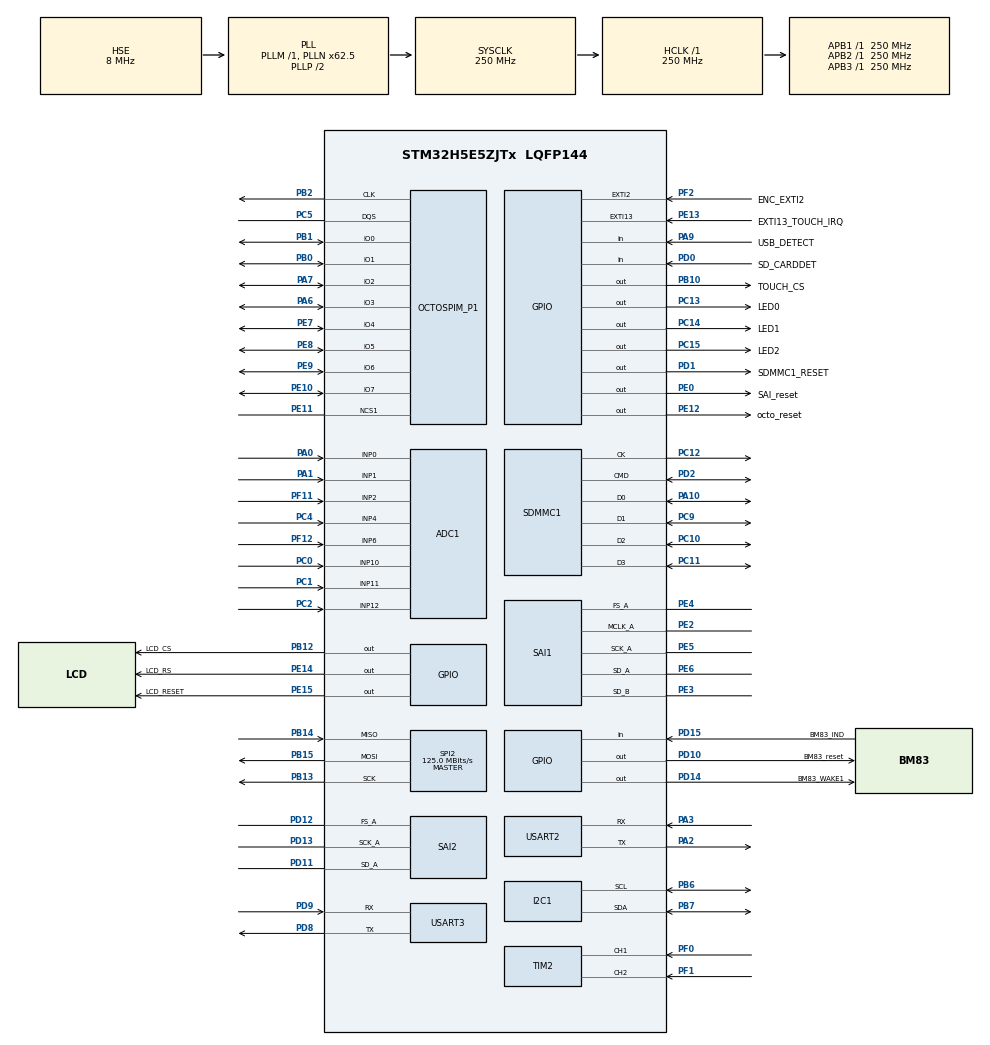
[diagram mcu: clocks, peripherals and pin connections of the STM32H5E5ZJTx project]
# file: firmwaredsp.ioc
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ADC1.Channel-0\#ChannelRegularConversion=ADC_CHANNEL_1
ADC1.MonitoredBy-0\#ChannelRegularConversion=__NULL
ADC1.NbrOfConversionFlag=1
ADC1.OffsetNumber-0\#ChannelRegularConversion=ADC_OFFSET_NONE
ADC1.Rank-0\#ChannelRegularConversion=1
ADC1.SamplingTime-0\#ChannelRegularConversion=ADC_SAMPLETIME_2CYCLES_5
ADC1.master=1
BOOTPATH.BootPathName=LEGACY
BOOTPATH.UserSelectedBootPath=LEGACY
CORTEX_M33_NS.Number-Cortex_Memory_Protection_Unit_Region0_OTP_RO_AREAS_Settings=MPU_REGION_NUMBER0
CORTEX_M33_NS.default_mode_Activation=1
CORTEX_M33_NS.userName=CORTEX_M33
GPDMA1.DESTBURSTLENGTH_GPDMACH0=1
GPDMA1.DESTDATAWIDTH_GPDMACH0=DMA_DEST_DATAWIDTH_BYTE
GPDMA1.DESTINC_GPDMACH0=DMA_DINC_FIXED
GPDMA1.DIRECTION_GPDMACH0=DMA_MEMORY_TO_PERIPH
GPDMA1.IPHANDLE_GPDMACH0-SIMPLEREQUEST_GPDMACH0=__NULL
GPDMA1.PRIORITY_GPDMACH0=DMA_LOW_PRIORITY_LOW_WEIGHT
GPDMA1.REQUEST_GPDMACH0=GPDMA1_REQUEST_USART2_TX
GPDMA1.SRCBURSTLENGTH_GPDMACH0=1
GPDMA1.SRCDATAWIDTH_GPDMACH0=DMA_SRC_DATAWIDTH_BYTE
GPDMA1.SRCINC_GPDMACH0=DMA_SINC_INCREMENTED
I2C1.Timing=0x60808CD3
Mcu.Family=STM32H5
Mcu.Name=STM32H5E5ZJTx
Mcu.Package=LQFP144
NVIC.GPDMA1_Channel0_IRQn=true\:15\:0\:false\:false\:true\:false\:true\:true
NVIC.PriorityGroup=NVIC_PRIORITYGROUP_4
NVIC.USART2_IRQn=true\:15\:0\:false\:false\:true\:true\:true\:true
OTG_HS_DM.Mode=Internal_Phy_Device
OTG_HS_DM.Signal=USB_OTG_HS_DM
OTG_HS_DP.Mode=Internal_Phy_Device
OTG_HS_DP.Signal=USB_OTG_HS_DP
PA0.Signal=ADCx_INP0
PA1.Signal=ADCx_INP1
PA10.Mode=SD_4_bits_Wide_bus
PA10.Signal=SDMMC1_D0
PA13\ (JTMS/SWDIO).Mode=JTAG_5_pins
PA13\ (JTMS/SWDIO).Signal=DEBUG_JTMS-SWDIO
PA14\ (JTCK/SWCLK).Mode=JTAG_5_pins
PA14\ (JTCK/SWCLK).Signal=DEBUG_JTCK-SWCLK
PA15\ (JTDI).Mode=JTAG_5_pins
PA15\ (JTDI).Signal=DEBUG_JTDI
PA2.Mode=Asynchronous
PA2.Signal=USART2_TX
PA3.Mode=Asynchronous
PA3.Signal=USART2_RX
PA6.Mode=OCTOSPI1_Port1Octo
PA6.Signal=OCTOSPIM_P1_IO3
PA7.Mode=OCTOSPI1_Port1Octo
PA7.Signal=OCTOSPIM_P1_IO2
PA9.GPIO_Label=USB_DETECT
PA9.Signal=GPIO_Input
PB0.Mode=OCTOSPI1_Port1Octo
PB0.Signal=OCTOSPIM_P1_IO1
PB1.Mode=OCTOSPI1_Port1Octo
PB1.Signal=OCTOSPIM_P1_IO0
PB10.GPIO_Label=TOUCH_CS
PB10.Signal=GPIO_Output
PB12.GPIO_Label=LCD_CS
PB12.Signal=GPIO_Output
PB13.Mode=Full_Duplex_Master
PB13.Signal=SPI2_SCK
PB14.Mode=Full_Duplex_Master
PB14.Signal=SPI2_MISO
PB15.Mode=Full_Duplex_Master
PB15.Signal=SPI2_MOSI
PB2.Mode=OCTOSPI1_Port1Octo
PB2.Signal=OCTOSPIM_P1_CLK
PB3\ (JTDO/TRACESWO).Mode=JTAG_5_pins
PB3\ (JTDO/TRACESWO).Signal=DEBUG_JTDO-SWO
PB4\ (NJTRST).Mode=JTAG_5_pins
PB4\ (NJTRST).Signal=DEBUG_NJTRST
PB6.Mode=I2C
PB6.Signal=I2C1_SCL
PB7.Mode=I2C
PB7.Signal=I2C1_SDA
PC0.Signal=ADCx_INP10
PC1.Signal=ADCx_INP11
PC10.Mode=SD_4_bits_Wide_bus
PC10.Signal=SDMMC1_D2
PC11.Mode=SD_4_bits_Wide_bus
PC11.Signal=SDMMC1_D3
PC12.Mode=SD_4_bits_Wide_bus
PC12.Signal=SDMMC1_CK
PC13.GPIO_Label=LED0
PC13.Signal=GPIO_Output
PC14-OSC32_IN(OSC32_IN).GPIO_Label=LED1
PC14-OSC32_IN(OSC32_IN).Signal=GPIO_Output
PC15-OSC32_OUT(OSC32_OUT).GPIO_Label=LED2
PC15-OSC32_OUT(OSC32_OUT).Signal=GPIO_Output
PC2.Signal=ADCx_INP12
PC4.Signal=ADCx_INP4
PC5.Mode=OCTOSPI1_Port1Octo
PC5.Signal=OCTOSPIM_P1_DQS
PC9.Mode=SD_4_bits_Wide_bus
PC9.Signal=SDMMC1_D1
PD0.GPIO_Label=SD_CARDDET
PD0.Signal=GPIO_Input
PD1.GPIO_Label=SDMMC1_RESET
PD1.Signal=GPIO_Output
PD10.GPIO_Label=BM83_reset
PD10.Signal=GPIO_Output
PD11.Mode=SAI_A_Master
PD11.Signal=SAI2_SD_A
PD12.Mode=SAI_A_Master
PD12.Signal=SAI2_FS_A
PD13.Mode=SAI_A_Master
PD13.Signal=SAI2_SCK_A
PD14.GPIO_Label=BM83_WAKE1
PD14.Signal=GPIO_Output
PD15.GPIO_Label=BM83_IND
PD15.Signal=GPIO_Input
PD2.Mode=SD_4_bits_Wide_bus
PD2.Signal=SDMMC1_CMD
PD8.Mode=Asynchronous
PD8.Signal=USART3_TX
PD9.Mode=Asynchronous
PD9.Signal=USART3_RX
PE0.GPIO_Label=SAI_reset
PE0.Signal=GPIO_Output
PE10.Mode=OCTOSPI1_Port1Octo
PE10.Signal=OCTOSPIM_P1_IO7
PE11.Mode=OCTOSPI1_NCS1_Port1
PE11.Signal=OCTOSPIM_P1_NCS1
PE12.GPIO_Label=octo_reset
PE12.Signal=GPIO_Output
PE13.GPIO_Label=EXTI13_TOUCH_IRQ
PE13.Signal=GPXTI13
PE14.GPIO_Label=LCD_RS
PE14.Signal=GPIO_Output
PE15.GPIO_Label=LCD_RESET
PE15.Signal=GPIO_Output
PE2.Mode=SAI_A_MasterWithClock
PE2.Signal=SAI1_MCLK_A
PE3.Mode=SAI_B_SyncSlave
PE3.Signal=SAI1_SD_B
PE4.Mode=SAI_A_MasterWithClock
PE4.Signal=SAI1_FS_A
PE5.Mode=SAI_A_MasterWithClock
PE5.Signal=SAI1_SCK_A
PE6.Mode=SAI_A_MasterWithClock
PE6.Signal=SAI1_SD_A
PE7.Mode=OCTOSPI1_Port1Octo
PE7.Signal=OCTOSPIM_P1_IO4
PE8.Mode=OCTOSPI1_Port1Octo
PE8.Signal=OCTOSPIM_P1_IO5
PE9.Mode=OCTOSPI1_Port1Octo
PE9.Signal=OCTOSPIM_P1_IO6
PF0.Signal=S_TIM2_CH1
PF1.Signal=S_TIM2_CH2
PF11.Mode=IN2-Single-Ended
PF11.Signal=ADC1_INP2
PF12.Mode=IN6-Single-Ended
PF12.Signal=ADC1_INP6
PF2.GPIO_Label=ENC_EXTI2
PF2.Signal=GPXTI2
PH0-OSC_IN(PH0).Mode=HSE-External-Oscillator
PH0-OSC_IN(PH0).Signal=RCC_OSC_IN
PH1-OSC_OUT(PH1).Mode=HSE-External-Oscillator
PH1-OSC_OUT(PH1).Signal=RCC_OSC_OUT
ProjectManager.HeapSize=0x200
ProjectManager.StackSize=0x400
ProjectManager.TargetToolchain=STM32CubeIDE
RCC.ADCCLockSelection=RCC_ADCDACCLKSOURCE_HSE
RCC.ADCFreq_Value=8000000
RCC.AHBFreq_Value=250000000
RCC.APB1Freq_Value=250000000
RCC.APB1TimFreq_Value=250000000
RCC.APB2Freq_Value=250000000
RCC.APB2TimFreq_Value=250000000
RCC.APB3Freq_Value=250000000
RCC.CSI_VALUE=4000000
RCC.CortexFreq_Value=250000000
RCC.EPOD_VALUE=8000000
RCC.HCLKFreq_Value=250000000
RCC.HSE_VALUE=8000000
RCC.HSI48_VALUE=48000000
RCC.HSI_VALUE=64000000
RCC.LSE_VALUE=32768
RCC.LSIRC_VALUE=32000
RCC.LockedElements=AHBOutput,USBPHYCLKOutput,SAI2output,SAI1output
RCC.PLL2FRACN=1245
RCC.PLL2N=49
RCC.PLL2P=8
RCC.PLL2Source=RCC_PLL2_SOURCE_HSE
RCC.PLL3FRACN=0
RCC.PLL3N=40
RCC.PLL3Q=10
RCC.PLLFRACN=4096
RCC.PLLN=62
RCC.PLLSourceVirtual=RCC_PLL1_SOURCE_HSE
RCC.SYSCLKFreq_VALUE=250000000
RCC.SYSCLKSource=RCC_SYSCLKSOURCE_PLLCLK
RCC.USBFreq_Value=16000000
RCC.USBPHYCLKSource=RCC_OTGHSCLKSOURCE_PLL3Q
RCC.VCOOutputFreq_Value=500000000
SAI1.AudioFrequency-SAI_A_MasterWithClock=SAI_AUDIO_FREQUENCY_48K
SAI1.BasicDataSize-SAI_A_MasterWithClock=SAI_PROTOCOL_DATASIZE_24BIT
SAI1.BasicDataSize-SAI_B_SyncSlave=SAI_PROTOCOL_DATASIZE_24BIT
SAI1.ErrorAudioFreq-SAI_A_MasterWithClock=0.0 %
SAI1.InitProtocol-SAI_A_MasterWithClock=Enable
SAI1.InitProtocol-SAI_B_SyncSlave=Enable
SAI1.Instance-SAI_A_MasterWithClock=SAI$Index_Block_A
SAI1.Instance-SAI_B_SyncSlave=SAI$Index_Block_B
SAI1.MckOutput-SAI_A_MasterWithClock=SAI_MCK_OUTPUT_ENABLE
SAI1.RealAudioFreq-SAI_A_MasterWithClock=47.999 KHz
SAI1.VirtualMode-SAI_A_MasterWithClock=VM_MASTER
SAI1.VirtualMode-SAI_B_SyncSlave=VM_SLAVE
SAI1.VirtualProtocol-SAI_A_BASIC=VM_BASIC_PROTOCOL
SAI1.VirtualProtocol-SAI_B_BASIC=VM_BASIC_PROTOCOL
SAI2.AudioFrequency-SAI_A_Master=SAI_AUDIO_FREQUENCY_48K
SAI2.ErrorAudioFreq-SAI_A_Master=0.0 %
SAI2.InitProtocol-SAI_A_Master=Enable
SAI2.Instance-SAI_A_Master=SAI$Index_Block_A
SAI2.MckOutput-SAI_A_Master=SAI_MCK_OUTPUT_DISABLE
SAI2.RealAudioFreq-SAI_A_Master=47.999 KHz
SAI2.VirtualMode-SAI_A_Master=VM_MASTER
SAI2.VirtualProtocol-SAI_A_BASIC=VM_BASIC_PROTOCOL
SH.ADCx_INP0.0=ADC1_INP0,IN0-Single-Ended
SH.ADCx_INP1.0=ADC1_INP1,IN1-Single-Ended
SH.ADCx_INP10.0=ADC1_INP10,IN10-Single-Ended
SH.ADCx_INP11.0=ADC1_INP11,IN11-Single-Ended
SH.ADCx_INP12.0=ADC1_INP12,IN12-Single-Ended
SH.ADCx_INP4.0=ADC1_INP4,IN4-Single-Ended
SH.S_TIM2_CH1.0=TIM2_CH1,Encoder_Interface
SH.S_TIM2_CH2.0=TIM2_CH2,Encoder_Interface
SPI2.CalculateBaudRate=125.0 MBits/s
SPI2.Direction=SPI_DIRECTION_2LINES
SPI2.Mode=SPI_MODE_MASTER
SPI2.VirtualType=VM_MASTER
USART2.VirtualMode-Asynchronous=VM_ASYNC
USART3.VirtualMode-Asynchronous=VM_ASYNC
USB_OTG_HS.VirtualMode=Int_Phy_Device
VP_BOOTPATH_VS_BOOTPATH.Mode=BP_Activate
VP_CORTEX_M33_NS_VS_Hclk.Mode=Hclk_Mode
VP_GPDMA1_VS_GPDMACH0.Mode=SIMPLEREQUEST_GPDMACH0
VP_ICACHE_VS_ICACHE.Mode=DirectMappedCache
VP_OCTOSPI1_VS_hyperbus.Mode=hyperbus_mode
VP_PWR_VS_LPOM.Mode=PowerOptimisation
VP_PWR_VS_SECSignals.Mode=Security/Privilege
VP_SAI1_VP_$IpInstance_SAIA_SAI_BASIC.Mode=SAI_A_BASIC
VP_SAI1_VP_$IpInstance_SAIB_SAI_BASIC.Mode=SAI_B_BASIC
VP_SAI2_VP_$IpInstance_SAIA_SAI_BASIC.Mode=SAI_A_BASIC
board=custom

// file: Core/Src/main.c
/* USER CODE BEGIN Header */
/**
  ******************************************************************************
  * @file           : main.c
  * @brief          : Main program body
  ******************************************************************************
  * @attention
  *
  * Copyright (c) 2026 STMicroelectronics.
  * All rights reserved.
  *
  * This software is licensed under terms that can be found in the LICENSE file
  * in the root directory of this software component.
  * If no LICENSE file comes with this software, it is provided AS-IS.
  *
  ******************************************************************************
  */
/* USER CODE END Header */
#include "main.h"

/* USER CODE BEGIN Includes */
#include "console.h"
#include "console_board.h"
#include "app_config.h"
#include "codec_app.h"

/* USER CODE END Includes */

ADC_HandleTypeDef hadc1;

I2C_HandleTypeDef hi2c1;

XSPI_HandleTypeDef hxspi1;

SAI_HandleTypeDef hsai_BlockA1;
SAI_HandleTypeDef hsai_BlockB1;
SAI_HandleTypeDef hsai_BlockA2;

SD_HandleTypeDef hsd1;

SPI_HandleTypeDef hspi2;

TIM_HandleTypeDef htim2;

UART_HandleTypeDef huart2;
UART_HandleTypeDef huart3;
DMA_HandleTypeDef handle_GPDMA1_Channel0;

PCD_HandleTypeDef hpcd_USB_OTG_HS;

/* USER CODE BEGIN PV */
volatile HAL_StatusTypeDef console_startup_status = HAL_ERROR;
#if GUITARAMP_CODEC_ENABLE
static codec_app_state_t last_codec_state;
#endif

/* USER CODE END PV */

void SystemClock_Config(void);
void PeriphCommonClock_Config(void);
static void MPU_Config(void);
static void MX_GPIO_Init(void);
static void MX_GPDMA1_Init(void);
static void MX_ICACHE_Init(void);
static void MX_OCTOSPI1_Init(void);
static void MX_SDMMC1_SD_Init(void);
static void MX_USB_OTG_HS_PCD_Init(void);
static void MX_I2C1_Init(void);
static void MX_SAI1_Init(void);
static void MX_USART2_UART_Init(void);
static void MX_SAI2_Init(void);
static void MX_USART3_UART_Init(void);
static void MX_SPI2_Init(void);
static void MX_ADC1_Init(void);
static void MX_TIM2_Init(void);

int main(void)
{

  /* USER CODE BEGIN 1 */
  uint32_t led1_last_toggle;

  /* USER CODE END 1 */

  /* MCU Configuration--------------------------------------------------------*/

  /* MPU Configuration--------------------------------------------------------*/
  MPU_Config();

  /* Reset of all peripherals, Initializes the Flash interface and the Systick. */
  HAL_Init();

  /* Configure the system clock */
  SystemClock_Config();

  /* Configure the peripherals common clocks */
  PeriphCommonClock_Config();

  /* Initialize all configured peripherals */
  MX_GPIO_Init();
  MX_GPDMA1_Init();
  MX_ICACHE_Init();
  MX_OCTOSPI1_Init();
  MX_SDMMC1_SD_Init();
  MX_USB_OTG_HS_PCD_Init();
  MX_I2C1_Init();
  MX_SAI1_Init();
  MX_USART2_UART_Init();
  MX_SAI2_Init();
  MX_USART3_UART_Init();
  MX_SPI2_Init();
  MX_ADC1_Init();
  MX_TIM2_Init();
  /* USER CODE BEGIN 2 */
  console_startup_status = Console_Board_Init(&huart2);
  Console_Write("\r\nguitarAmp console ready\r\n");
  Console_Printf("CPU clock: %lu Hz\r\n", (unsigned long)HAL_RCC_GetSysClockFreq());
#if GUITARAMP_CODEC_ENABLE
  Console_Write("codec: starting\r\n");
  codec_app_start(&hi2c1, &hsai_BlockA1);
  last_codec_state = codec_app_state;
  Console_Printf("codec: state=%u result=%u\r\n",
                 (unsigned)codec_app_state, (unsigned)codec_app_result);
#else
  Console_Write("codec: disabled\r\n");
#endif
  led1_last_toggle = HAL_GetTick();

  /* USER CODE END 2 */

  /* Infinite loop */
  while (1)
  {

    /* USER CODE BEGIN 3 */
    Console_Process();
#if GUITARAMP_CODEC_ENABLE
    codec_app_process();
    if (last_codec_state != codec_app_state)
    {
      last_codec_state = codec_app_state;
      Console_Printf("codec: state=%u result=%u\r\n",
                     (unsigned)codec_app_state, (unsigned)codec_app_result);
    }
#endif
    uint32_t now = HAL_GetTick();

    if ((uint32_t)(now - led1_last_toggle) >= 500U)
    {
      led1_last_toggle = now;
      HAL_GPIO_TogglePin(LED1_GPIO_Port, LED1_Pin);
    }
  }
  /* USER CODE END 3 */
}

void SystemClock_Config(void)
{
  RCC_OscInitTypeDef RCC_OscInitStruct = {0};
  RCC_ClkInitTypeDef RCC_ClkInitStruct = {0};

  /** Configure the main internal regulator output voltage
  */
  __HAL_PWR_VOLTAGESCALING_CONFIG(PWR_REGULATOR_VOLTAGE_SCALE0);

  while(!__HAL_PWR_GET_FLAG(PWR_FLAG_VOSRDY)) {}

  /** Initializes the RCC Oscillators according to the specified parameters
  * in the RCC_OscInitTypeDef structure.
  */
  RCC_OscInitStruct.OscillatorType = RCC_OSCILLATORTYPE_HSE|RCC_OSCILLATORTYPE_CSI;
  RCC_OscInitStruct.HSEState = RCC_HSE_ON;
  RCC_OscInitStruct.CSIState = RCC_CSI_ON;
  RCC_OscInitStruct.CSICalibrationValue = RCC_CSICALIBRATION_DEFAULT;
  RCC_OscInitStruct.PLL.PLLState = RCC_PLL_ON;
  RCC_OscInitStruct.PLL.PLLSource = RCC_PLL1_SOURCE_HSE;
  RCC_OscInitStruct.PLL.PLLM = 1;
  RCC_OscInitStruct.PLL.PLLN = 62;
  RCC_OscInitStruct.PLL.PLLP = 2;
  RCC_OscInitStruct.PLL.PLLQ = 2;
  RCC_OscInitStruct.PLL.PLLR = 2;
  RCC_OscInitStruct.PLL.PLLRGE = RCC_PLL1_VCIRANGE_3;
  RCC_OscInitStruct.PLL.PLLVCOSEL = RCC_PLL1_VCORANGE_WIDE;
  RCC_OscInitStruct.PLL.PLLFRACN = 4096;
  if (HAL_RCC_OscConfig(&RCC_OscInitStruct) != HAL_OK)
  {
    Error_Handler();
  }

  /** Initializes the CPU, AHB and APB buses clocks
  */
  RCC_ClkInitStruct.ClockType = RCC_CLOCKTYPE_HCLK|RCC_CLOCKTYPE_SYSCLK
                              |RCC_CLOCKTYPE_PCLK1|RCC_CLOCKTYPE_PCLK2
                              |RCC_CLOCKTYPE_PCLK3;
  RCC_ClkInitStruct.SYSCLKSource = RCC_SYSCLKSOURCE_PLLCLK;
  RCC_ClkInitStruct.AHBCLKDivider = RCC_SYSCLK_DIV1;
  RCC_ClkInitStruct.APB1CLKDivider = RCC_HCLK_DIV1;
  RCC_ClkInitStruct.APB2CLKDivider = RCC_HCLK_DIV1;
  RCC_ClkInitStruct.APB3CLKDivider = RCC_HCLK_DIV1;

  if (HAL_RCC_ClockConfig(&RCC_ClkInitStruct, FLASH_LATENCY_5) != HAL_OK)
  {
    Error_Handler();
  }

  /** Configure the programming delay
  */
  __HAL_FLASH_SET_PROGRAM_DELAY(FLASH_PROGRAMMING_DELAY_2);
}

void PeriphCommonClock_Config(void)
{
  RCC_PeriphCLKInitTypeDef PeriphClkInitStruct = {0};

  /** Initializes the peripherals clock
  */
  PeriphClkInitStruct.PeriphClockSelection = RCC_PERIPHCLK_ADCDAC|RCC_PERIPHCLK_SAI1
                              |RCC_PERIPHCLK_SAI2;
  PeriphClkInitStruct.PLL2.PLL2Source = RCC_PLL2_SOURCE_HSE;
  PeriphClkInitStruct.PLL2.PLL2M = 1;
  PeriphClkInitStruct.PLL2.PLL2N = 49;
  PeriphClkInitStruct.PLL2.PLL2P = 8;
  PeriphClkInitStruct.PLL2.PLL2Q = 2;
  PeriphClkInitStruct.PLL2.PLL2R = 2;
  PeriphClkInitStruct.PLL2.PLL2RGE = RCC_PLL2_VCIRANGE_3;
  PeriphClkInitStruct.PLL2.PLL2VCOSEL = RCC_PLL2_VCORANGE_WIDE;
  PeriphClkInitStruct.PLL2.PLL2FRACN = 1245;
  PeriphClkInitStruct.PLL2.PLL2ClockOut = RCC_PLL2_DIVP;
  PeriphClkInitStruct.Sai1ClockSelection = RCC_SAI1CLKSOURCE_PLL2P;
  PeriphClkInitStruct.Sai2ClockSelection = RCC_SAI2CLKSOURCE_PLL2P;
  if (HAL_RCCEx_PeriphCLKConfig(&PeriphClkInitStruct) != HAL_OK)
  {
    Error_Handler();
  }
}

static void MX_ADC1_Init(void)
{

  ADC_ChannelConfTypeDef sConfig = {0};

  /** Common config
  */
  hadc1.Instance = ADC1;
  hadc1.Init.ClockPrescaler = ADC_CLOCK_ASYNC_DIV1;
  hadc1.Init.Resolution = ADC_RESOLUTION_12B;
  hadc1.Init.DataAlign = ADC_DATAALIGN_RIGHT;
  hadc1.Init.ScanConvMode = ADC_SCAN_DISABLE;
  hadc1.Init.EOCSelection = ADC_EOC_SINGLE_CONV;
  hadc1.Init.LowPowerAutoWait = DISABLE;
  hadc1.Init.ContinuousConvMode = DISABLE;
  hadc1.Init.NbrOfConversion = 1;
  hadc1.Init.DiscontinuousConvMode = DISABLE;
  hadc1.Init.ExternalTrigConv = ADC_SOFTWARE_START;
  hadc1.Init.ExternalTrigConvEdge = ADC_EXTERNALTRIGCONVEDGE_NONE;
  hadc1.Init.DMAContinuousRequests = DISABLE;
  hadc1.Init.SamplingMode = ADC_SAMPLING_MODE_NORMAL;
  hadc1.Init.Overrun = ADC_OVR_DATA_PRESERVED;
  hadc1.Init.OversamplingMode = DISABLE;
  if (HAL_ADC_Init(&hadc1) != HAL_OK)
  {
    Error_Handler();
  }

  /** Configure Regular Channel
  */
  sConfig.Channel = ADC_CHANNEL_1;
  sConfig.Rank = ADC_REGULAR_RANK_1;
  sConfig.SamplingTime = ADC_SAMPLETIME_2CYCLES_5;
  sConfig.SingleDiff = ADC_SINGLE_ENDED;
  sConfig.OffsetNumber = ADC_OFFSET_NONE;
  sConfig.Offset = 0;
  if (HAL_ADC_ConfigChannel(&hadc1, &sConfig) != HAL_OK)
  {
    Error_Handler();
  }

}

static void MX_GPDMA1_Init(void)
{

  /* Peripheral clock enable */
  __HAL_RCC_GPDMA1_CLK_ENABLE();

  /* GPDMA1 interrupt Init */
    HAL_NVIC_SetPriority(GPDMA1_Channel0_IRQn, 15, 0);
    HAL_NVIC_EnableIRQ(GPDMA1_Channel0_IRQn);

}

static void MX_I2C1_Init(void)
{

  hi2c1.Instance = I2C1;
  hi2c1.Init.Timing = 0x60808CD3;
  hi2c1.Init.OwnAddress1 = 0;
  hi2c1.Init.AddressingMode = I2C_ADDRESSINGMODE_7BIT;
  hi2c1.Init.DualAddressMode = I2C_DUALADDRESS_DISABLE;
  hi2c1.Init.OwnAddress2 = 0;
  hi2c1.Init.OwnAddress2Masks = I2C_OA2_NOMASK;
  hi2c1.Init.GeneralCallMode = I2C_GENERALCALL_DISABLE;
  hi2c1.Init.NoStretchMode = I2C_NOSTRETCH_DISABLE;
  if (HAL_I2C_Init(&hi2c1) != HAL_OK)
  {
    Error_Handler();
  }

  /** Configure Analogue filter
  */
  if (HAL_I2CEx_ConfigAnalogFilter(&hi2c1, I2C_ANALOGFILTER_ENABLE) != HAL_OK)
  {
    Error_Handler();
  }

  /** Configure Digital filter
  */
  if (HAL_I2CEx_ConfigDigitalFilter(&hi2c1, 0) != HAL_OK)
  {
    Error_Handler();
  }

}

static void MX_ICACHE_Init(void)
{

  /** Enable instruction cache in 1-way (direct mapped cache)
  */
  if (HAL_ICACHE_ConfigAssociativityMode(ICACHE_1WAY) != HAL_OK)
  {
    Error_Handler();
  }
  if (HAL_ICACHE_Enable() != HAL_OK)
  {
    Error_Handler();
  }

}

static void MX_OCTOSPI1_Init(void)
{

  XSPI_HyperbusCfgTypeDef sHyperBusCfg = {0};

  /* OCTOSPI1 parameter configuration*/
  hxspi1.Instance = OCTOSPI1;
  hxspi1.Init.FifoThresholdByte = 1;
  hxspi1.Init.MemoryMode = HAL_XSPI_SINGLE_MEM;
  hxspi1.Init.MemoryType = HAL_XSPI_MEMTYPE_HYPERBUS;
  hxspi1.Init.MemorySize = HAL_XSPI_SIZE_16B;
  hxspi1.Init.ChipSelectHighTimeCycle = 1;
  hxspi1.Init.FreeRunningClock = HAL_XSPI_FREERUNCLK_DISABLE;
  hxspi1.Init.ClockMode = HAL_XSPI_CLOCK_MODE_0;
  hxspi1.Init.WrapSize = HAL_XSPI_WRAP_NOT_SUPPORTED;
  hxspi1.Init.ClockPrescaler = 0;
  hxspi1.Init.SampleShifting = HAL_XSPI_SAMPLE_SHIFT_NONE;
  hxspi1.Init.DelayHoldQuarterCycle = HAL_XSPI_DHQC_DISABLE;
  hxspi1.Init.ChipSelectBoundary = HAL_XSPI_BONDARYOF_NONE;
  hxspi1.Init.DelayBlockBypass = HAL_XSPI_DELAY_BLOCK_BYPASS;
  hxspi1.Init.MaxTran = 0;
  hxspi1.Init.Refresh = 0;
  hxspi1.Init.MemorySelect = HAL_XSPI_CSSEL_NCS1;
  if (HAL_XSPI_Init(&hxspi1) != HAL_OK)
  {
    Error_Handler();
  }
  sHyperBusCfg.RWRecoveryTimeCycle = 0;
  sHyperBusCfg.AccessTimeCycle = 0;
  sHyperBusCfg.WriteZeroLatency = HAL_XSPI_NO_LATENCY_ON_WRITE;
  sHyperBusCfg.LatencyMode = HAL_XSPI_VARIABLE_LATENCY;
  if (HAL_XSPI_HyperbusCfg(&hxspi1, &sHyperBusCfg, HAL_XSPI_TIMEOUT_DEFAULT_VALUE) != HAL_OK)
  {
    Error_Handler();
  }

}

static void MX_SAI1_Init(void)
{

  hsai_BlockA1.Instance = SAI1_Block_A;
  hsai_BlockA1.Init.AudioMode = SAI_MODEMASTER_TX;
  hsai_BlockA1.Init.Synchro = SAI_ASYNCHRONOUS;
  hsai_BlockA1.Init.OutputDrive = SAI_OUTPUTDRIVE_DISABLE;
  hsai_BlockA1.Init.NoDivider = SAI_MASTERDIVIDER_ENABLE;
  hsai_BlockA1.Init.FIFOThreshold = SAI_FIFOTHRESHOLD_EMPTY;
  hsai_BlockA1.Init.AudioFrequency = SAI_AUDIO_FREQUENCY_48K;
  hsai_BlockA1.Init.SynchroExt = SAI_SYNCEXT_DISABLE;
  hsai_BlockA1.Init.MckOutput = SAI_MCK_OUTPUT_ENABLE;
  hsai_BlockA1.Init.MonoStereoMode = SAI_STEREOMODE;
  hsai_BlockA1.Init.CompandingMode = SAI_NOCOMPANDING;
  hsai_BlockA1.Init.TriState = SAI_OUTPUT_NOTRELEASED;
  if (HAL_SAI_InitProtocol(&hsai_BlockA1, SAI_I2S_STANDARD, SAI_PROTOCOL_DATASIZE_24BIT, 2) != HAL_OK)
  {
    Error_Handler();
  }
  hsai_BlockB1.Instance = SAI1_Block_B;
  hsai_BlockB1.Init.AudioMode = SAI_MODESLAVE_RX;
  hsai_BlockB1.Init.Synchro = SAI_SYNCHRONOUS;
  hsai_BlockB1.Init.OutputDrive = SAI_OUTPUTDRIVE_DISABLE;
  hsai_BlockB1.Init.NoDivider = SAI_MASTERDIVIDER_ENABLE;
  hsai_BlockB1.Init.FIFOThreshold = SAI_FIFOTHRESHOLD_EMPTY;
  hsai_BlockB1.Init.SynchroExt = SAI_SYNCEXT_DISABLE;
  hsai_BlockB1.Init.MckOutput = SAI_MCK_OUTPUT_ENABLE;
  hsai_BlockB1.Init.MonoStereoMode = SAI_STEREOMODE;
  hsai_BlockB1.Init.CompandingMode = SAI_NOCOMPANDING;
  hsai_BlockB1.Init.TriState = SAI_OUTPUT_NOTRELEASED;
  if (HAL_SAI_InitProtocol(&hsai_BlockB1, SAI_I2S_STANDARD, SAI_PROTOCOL_DATASIZE_24BIT, 2) != HAL_OK)
  {
    Error_Handler();
  }

}

static void MX_SAI2_Init(void)
{

  hsai_BlockA2.Instance = SAI2_Block_A;
  hsai_BlockA2.Init.AudioMode = SAI_MODEMASTER_TX;
  hsai_BlockA2.Init.Synchro = SAI_ASYNCHRONOUS;
  hsai_BlockA2.Init.OutputDrive = SAI_OUTPUTDRIVE_DISABLE;
  hsai_BlockA2.Init.NoDivider = SAI_MASTERDIVIDER_ENABLE;
  hsai_BlockA2.Init.FIFOThreshold = SAI_FIFOTHRESHOLD_EMPTY;
  hsai_BlockA2.Init.AudioFrequency = SAI_AUDIO_FREQUENCY_48K;
  hsai_BlockA2.Init.SynchroExt = SAI_SYNCEXT_DISABLE;
  hsai_BlockA2.Init.MckOutput = SAI_MCK_OUTPUT_DISABLE;
  hsai_BlockA2.Init.MonoStereoMode = SAI_STEREOMODE;
  hsai_BlockA2.Init.CompandingMode = SAI_NOCOMPANDING;
  hsai_BlockA2.Init.TriState = SAI_OUTPUT_NOTRELEASED;
  if (HAL_SAI_InitProtocol(&hsai_BlockA2, SAI_I2S_STANDARD, SAI_PROTOCOL_DATASIZE_16BIT, 2) != HAL_OK)
  {
    Error_Handler();
  }

}

static void MX_SDMMC1_SD_Init(void)
{

  hsd1.Instance = SDMMC1;
  hsd1.Init.ClockEdge = SDMMC_CLOCK_EDGE_RISING;
  hsd1.Init.ClockPowerSave = SDMMC_CLOCK_POWER_SAVE_DISABLE;
  hsd1.Init.BusWide = SDMMC_BUS_WIDE_4B;
  hsd1.Init.HardwareFlowControl = SDMMC_HARDWARE_FLOW_CONTROL_DISABLE;
  hsd1.Init.ClockDiv = 0;
  if (HAL_SD_Init(&hsd1) != HAL_OK)
  {
    Error_Handler();
  }

}

static void MX_SPI2_Init(void)
{

  /* SPI2 parameter configuration*/
  hspi2.Instance = SPI2;
  hspi2.Init.Mode = SPI_MODE_MASTER;
  hspi2.Init.Direction = SPI_DIRECTION_2LINES;
  hspi2.Init.DataSize = SPI_DATASIZE_4BIT;
  hspi2.Init.CLKPolarity = SPI_POLARITY_LOW;
  hspi2.Init.CLKPhase = SPI_PHASE_1EDGE;
  hspi2.Init.NSS = SPI_NSS_SOFT;
  hspi2.Init.BaudRatePrescaler = SPI_BAUDRATEPRESCALER_2;
  hspi2.Init.FirstBit = SPI_FIRSTBIT_MSB;
  hspi2.Init.TIMode = SPI_TIMODE_DISABLE;
  hspi2.Init.CRCCalculation = SPI_CRCCALCULATION_DISABLE;
  hspi2.Init.CRCPolynomial = 0x7;
  hspi2.Init.NSSPMode = SPI_NSS_PULSE_ENABLE;
  hspi2.Init.NSSPolarity = SPI_NSS_POLARITY_LOW;
  hspi2.Init.FifoThreshold = SPI_FIFO_THRESHOLD_01DATA;
  hspi2.Init.MasterSSIdleness = SPI_MASTER_SS_IDLENESS_00CYCLE;
  hspi2.Init.MasterInterDataIdleness = SPI_MASTER_INTERDATA_IDLENESS_00CYCLE;
  hspi2.Init.MasterReceiverAutoSusp = SPI_MASTER_RX_AUTOSUSP_DISABLE;
  hspi2.Init.MasterKeepIOState = SPI_MASTER_KEEP_IO_STATE_DISABLE;
  hspi2.Init.IOSwap = SPI_IO_SWAP_DISABLE;
  hspi2.Init.ReadyMasterManagement = SPI_RDY_MASTER_MANAGEMENT_INTERNALLY;
  hspi2.Init.ReadyPolarity = SPI_RDY_POLARITY_HIGH;
  if (HAL_SPI_Init(&hspi2) != HAL_OK)
  {
    Error_Handler();
  }

}

static void MX_TIM2_Init(void)
{

  TIM_Encoder_InitTypeDef sConfig = {0};
  TIM_MasterConfigTypeDef sMasterConfig = {0};

  htim2.Instance = TIM2;
  htim2.Init.Prescaler = 0;
  htim2.Init.CounterMode = TIM_COUNTERMODE_UP;
  htim2.Init.Period = 4294967295;
  htim2.Init.ClockDivision = TIM_CLOCKDIVISION_DIV1;
  htim2.Init.AutoReloadPreload = TIM_AUTORELOAD_PRELOAD_DISABLE;
  sConfig.EncoderMode = TIM_ENCODERMODE_TI1;
  sConfig.IC1Polarity = TIM_ICPOLARITY_RISING;
  sConfig.IC1Selection = TIM_ICSELECTION_DIRECTTI;
  sConfig.IC1Prescaler = TIM_ICPSC_DIV1;
  sConfig.IC1Filter = 0;
  sConfig.IC2Polarity = TIM_ICPOLARITY_RISING;
  sConfig.IC2Selection = TIM_ICSELECTION_DIRECTTI;
  sConfig.IC2Prescaler = TIM_ICPSC_DIV1;
  sConfig.IC2Filter = 0;
  if (HAL_TIM_Encoder_Init(&htim2, &sConfig) != HAL_OK)
  {
    Error_Handler();
  }
  sMasterConfig.MasterOutputTrigger = TIM_TRGO_RESET;
  sMasterConfig.MasterSlaveMode = TIM_MASTERSLAVEMODE_DISABLE;
  if (HAL_TIMEx_MasterConfigSynchronization(&htim2, &sMasterConfig) != HAL_OK)
  {
    Error_Handler();
  }

}

static void MX_USART2_UART_Init(void)
{

  huart2.Instance = USART2;
  huart2.Init.BaudRate = 115200;
  huart2.Init.WordLength = UART_WORDLENGTH_8B;
  huart2.Init.StopBits = UART_STOPBITS_1;
  huart2.Init.Parity = UART_PARITY_NONE;
  huart2.Init.Mode = UART_MODE_TX_RX;
  huart2.Init.HwFlowCtl = UART_HWCONTROL_NONE;
  huart2.Init.OverSampling = UART_OVERSAMPLING_16;
  huart2.Init.OneBitSampling = UART_ONE_BIT_SAMPLE_DISABLE;
  huart2.Init.ClockPrescaler = UART_PRESCALER_DIV1;
  huart2.AdvancedInit.AdvFeatureInit = UART_ADVFEATURE_NO_INIT;
  if (HAL_UART_Init(&huart2) != HAL_OK)
  {
    Error_Handler();
  }
  if (HAL_UARTEx_SetTxFifoThreshold(&huart2, UART_TXFIFO_THRESHOLD_1_8) != HAL_OK)
  {
    Error_Handler();
  }
  if (HAL_UARTEx_SetRxFifoThreshold(&huart2, UART_RXFIFO_THRESHOLD_1_8) != HAL_OK)
  {
    Error_Handler();
  }
  if (HAL_UARTEx_DisableFifoMode(&huart2) != HAL_OK)
  {
    Error_Handler();
  }

}

static void MX_USART3_UART_Init(void)
{

  huart3.Instance = USART3;
  huart3.Init.BaudRate = 115200;
  huart3.Init.WordLength = UART_WORDLENGTH_8B;
  huart3.Init.StopBits = UART_STOPBITS_1;
  huart3.Init.Parity = UART_PARITY_NONE;
  huart3.Init.Mode = UART_MODE_TX_RX;
  huart3.Init.HwFlowCtl = UART_HWCONTROL_NONE;
  huart3.Init.OverSampling = UART_OVERSAMPLING_16;
  huart3.Init.OneBitSampling = UART_ONE_BIT_SAMPLE_DISABLE;
  huart3.Init.ClockPrescaler = UART_PRESCALER_DIV1;
  huart3.AdvancedInit.AdvFeatureInit = UART_ADVFEATURE_NO_INIT;
  if (HAL_UART_Init(&huart3) != HAL_OK)
  {
    Error_Handler();
  }
  if (HAL_UARTEx_SetTxFifoThreshold(&huart3, UART_TXFIFO_THRESHOLD_1_8) != HAL_OK)
  {
    Error_Handler();
  }
  if (HAL_UARTEx_SetRxFifoThreshold(&huart3, UART_RXFIFO_THRESHOLD_1_8) != HAL_OK)
  {
    Error_Handler();
  }
  if (HAL_UARTEx_DisableFifoMode(&huart3) != HAL_OK)
  {
    Error_Handler();
  }

}

static void MX_USB_OTG_HS_PCD_Init(void)
{

  hpcd_USB_OTG_HS.Instance = USB_OTG_HS;
  hpcd_USB_OTG_HS.Init.dev_endpoints = 9;
  hpcd_USB_OTG_HS.Init.speed = PCD_SPEED_HIGH;
  hpcd_USB_OTG_HS.Init.dma_enable = DISABLE;
  hpcd_USB_OTG_HS.Init.phy_itface = PCD_HS_PHY_EMBEDDED;
  hpcd_USB_OTG_HS.Init.Sof_enable = DISABLE;
  hpcd_USB_OTG_HS.Init.low_power_enable = DISABLE;
  hpcd_USB_OTG_HS.Init.lpm_enable = DISABLE;
  hpcd_USB_OTG_HS.Init.vbus_sensing_enable = DISABLE;
  if (HAL_PCD_Init(&hpcd_USB_OTG_HS) != HAL_OK)
  {
    Error_Handler();
  }

}

static void MX_GPIO_Init(void)
{
  GPIO_InitTypeDef GPIO_InitStruct = {0};

  /* GPIO Ports Clock Enable */
  __HAL_RCC_GPIOC_CLK_ENABLE();
  __HAL_RCC_GPIOF_CLK_ENABLE();
  __HAL_RCC_GPIOH_CLK_ENABLE();
  __HAL_RCC_GPIOE_CLK_ENABLE();
  __HAL_RCC_GPIOB_CLK_ENABLE();
  __HAL_RCC_GPIOD_CLK_ENABLE();
  __HAL_RCC_GPIOA_CLK_ENABLE();

  /*Configure GPIO pin Output Level */
  HAL_GPIO_WritePin(GPIOC, LED0_Pin|LED1_Pin|LED2_Pin, GPIO_PIN_RESET);

  /*Configure GPIO pin Output Level */
  HAL_GPIO_WritePin(GPIOE, octo_reset_Pin|LCD_RS_Pin|LCD_RESET_Pin|SAI_reset_Pin, GPIO_PIN_RESET);

  /*Configure GPIO pin Output Level */
  HAL_GPIO_WritePin(GPIOB, TOUCH_CS_Pin|LCD_CS_Pin, GPIO_PIN_RESET);

  /*Configure GPIO pin Output Level */
  HAL_GPIO_WritePin(GPIOD, BM83_reset_Pin|BM83_WAKE1_Pin|SDMMC1_RESET_Pin, GPIO_PIN_RESET);

  /*Configure GPIO pins : LED0_Pin LED1_Pin LED2_Pin */
  GPIO_InitStruct.Pin = LED0_Pin|LED1_Pin|LED2_Pin;
  GPIO_InitStruct.Mode = GPIO_MODE_OUTPUT_PP;
  GPIO_InitStruct.Pull = GPIO_NOPULL;
  GPIO_InitStruct.Speed = GPIO_SPEED_FREQ_LOW;
  HAL_GPIO_Init(GPIOC, &GPIO_InitStruct);

  /*Configure GPIO pin : ENC_EXTI2_Pin */
  GPIO_InitStruct.Pin = ENC_EXTI2_Pin;
  GPIO_InitStruct.Mode = GPIO_MODE_IT_RISING;
  GPIO_InitStruct.Pull = GPIO_NOPULL;
  HAL_GPIO_Init(ENC_EXTI2_GPIO_Port, &GPIO_InitStruct);

  /*Configure GPIO pins : octo_reset_Pin LCD_RS_Pin LCD_RESET_Pin SAI_reset_Pin */
  GPIO_InitStruct.Pin = octo_reset_Pin|LCD_RS_Pin|LCD_RESET_Pin|SAI_reset_Pin;
  GPIO_InitStruct.Mode = GPIO_MODE_OUTPUT_PP;
  GPIO_InitStruct.Pull = GPIO_NOPULL;
  GPIO_InitStruct.Speed = GPIO_SPEED_FREQ_LOW;
  HAL_GPIO_Init(GPIOE, &GPIO_InitStruct);

  /*Configure GPIO pin : EXTI13_TOUCH_IRQ_Pin */
  GPIO_InitStruct.Pin = EXTI13_TOUCH_IRQ_Pin;
  GPIO_InitStruct.Mode = GPIO_MODE_IT_RISING;
  GPIO_InitStruct.Pull = GPIO_NOPULL;
  HAL_GPIO_Init(EXTI13_TOUCH_IRQ_GPIO_Port, &GPIO_InitStruct);

  /*Configure GPIO pins : TOUCH_CS_Pin LCD_CS_Pin */
  GPIO_InitStruct.Pin = TOUCH_CS_Pin|LCD_CS_Pin;
  GPIO_InitStruct.Mode = GPIO_MODE_OUTPUT_PP;
  GPIO_InitStruct.Pull = GPIO_NOPULL;
  GPIO_InitStruct.Speed = GPIO_SPEED_FREQ_LOW;
  HAL_GPIO_Init(GPIOB, &GPIO_InitStruct);

  /*Configure GPIO pins : BM83_reset_Pin BM83_WAKE1_Pin SDMMC1_RESET_Pin */
  GPIO_InitStruct.Pin = BM83_reset_Pin|BM83_WAKE1_Pin|SDMMC1_RESET_Pin;
  GPIO_InitStruct.Mode = GPIO_MODE_OUTPUT_PP;
  GPIO_InitStruct.Pull = GPIO_NOPULL;
  GPIO_InitStruct.Speed = GPIO_SPEED_FREQ_LOW;
  HAL_GPIO_Init(GPIOD, &GPIO_InitStruct);

  /*Configure GPIO pins : BM83_IND_Pin SD_CARDDET_Pin */
  GPIO_InitStruct.Pin = BM83_IND_Pin|SD_CARDDET_Pin;
  GPIO_InitStruct.Mode = GPIO_MODE_INPUT;
  GPIO_InitStruct.Pull = GPIO_NOPULL;
  HAL_GPIO_Init(GPIOD, &GPIO_InitStruct);

  /*Configure GPIO pin : USB_DETECT_Pin */
  GPIO_InitStruct.Pin = USB_DETECT_Pin;
  GPIO_InitStruct.Mode = GPIO_MODE_INPUT;
  GPIO_InitStruct.Pull = GPIO_NOPULL;
  HAL_GPIO_Init(USB_DETECT_GPIO_Port, &GPIO_InitStruct);

  /* USER CODE BEGIN MX_GPIO_Init_2 */
  /* Active-high LED0 indicates that GPIO initialization has completed. */
  HAL_GPIO_WritePin(LED0_GPIO_Port, LED0_Pin, GPIO_PIN_SET);

  /* USER CODE END MX_GPIO_Init_2 */
}

 /* MPU Configuration */

static void MPU_Config(void)
{
  MPU_Region_InitTypeDef MPU_InitStruct = {0};
  MPU_Attributes_InitTypeDef MPU_AttributesInit = {0};

  /* Disables the MPU */
  HAL_MPU_Disable();

  /** Initializes and configures the Region 0 and the memory to be protected
  */
  MPU_InitStruct.Enable = MPU_REGION_ENABLE;
  MPU_InitStruct.Number = MPU_REGION_NUMBER0;
  MPU_InitStruct.BaseAddress = 0x08FFF000;
  MPU_InitStruct.LimitAddress = 0x08FFFFFF;
  MPU_InitStruct.AttributesIndex = MPU_ATTRIBUTES_NUMBER0;
  MPU_InitStruct.AccessPermission = MPU_REGION_ALL_RO;
  MPU_InitStruct.DisableExec = MPU_INSTRUCTION_ACCESS_DISABLE;
  MPU_InitStruct.IsShareable = MPU_ACCESS_NOT_SHAREABLE;

  HAL_MPU_ConfigRegion(&MPU_InitStruct);

  /** Initializes and configures the Attribute 0 and the memory to be protected
  */
  MPU_AttributesInit.Number = MPU_ATTRIBUTES_NUMBER0;
  MPU_AttributesInit.Attributes = INNER_OUTER(MPU_NOT_CACHEABLE);

  HAL_MPU_ConfigMemoryAttributes(&MPU_AttributesInit);
  /* Enables the MPU */
  HAL_MPU_Enable(MPU_PRIVILEGED_DEFAULT);

}

void Error_Handler(void)
{
  __disable_irq();
  while (1)
  {
  }
}
